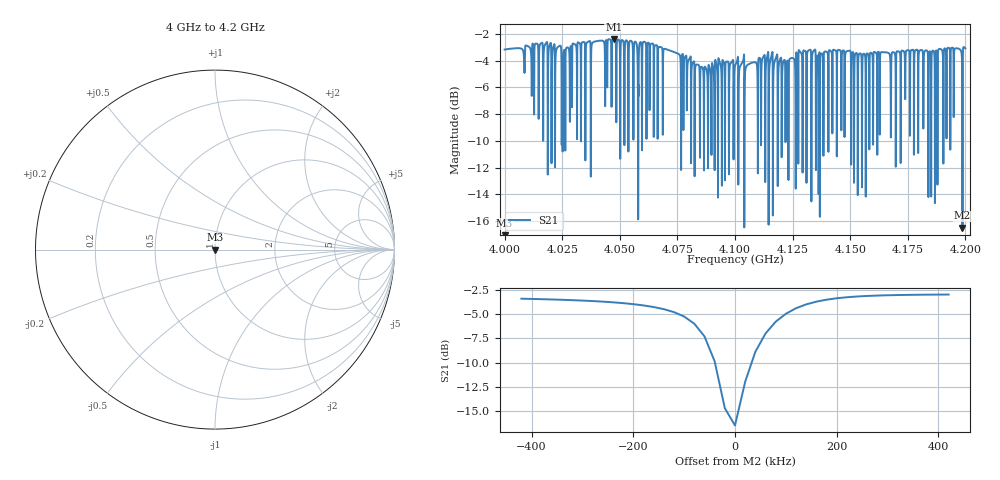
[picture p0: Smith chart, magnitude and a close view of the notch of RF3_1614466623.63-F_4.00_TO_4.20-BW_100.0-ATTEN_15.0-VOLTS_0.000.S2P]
!Keysight Technologies,E5063A,MY54502693,A.05.04
!Date: Sat Feb 27 15:57:22 2021
!Data & Calibration Information:
!Freq	S11:NONE(--)	S21:NONE(--)	S12:NONE(--)	S22:NONE(--)
# Hz S RI R 50
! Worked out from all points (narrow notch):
!   10000 points, 4 GHz to 4.2 GHz, reference 50 ohm
!   highest |S21| = -2.40 dB at 4.0473 GHz (marker M1); lowest = -16.5 dB at 4.1987 GHz (marker M2)
!   notch at M2: 13.1 dB deep, 73.1 kHz wide at half that depth
!   lowest |S11| = - dB at 4 GHz (marker M3), VSWR 1.00, Z = 50 + j0 ohm
!   |S11| at or under -10 dB: start of sweep to end of sweep
!   S12 and S22 are empty: the file has one direction only
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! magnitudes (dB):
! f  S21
! 4 GHz  -3.2
! 4.0212 GHz  -2.9
! 4.0236 GHz  -2.9
! 4.0256 GHz  -3.4
! 4.0265 GHz  -3.2
! 4.0333 GHz  -2.8
! 4.0473 GHz  -2.4
! 4.0548 GHz  -2.5
! 4.0587 GHz  -2.7
! 4.0594 GHz  -3.0
! 4.0667 GHz  -3.1
! 4.0889 GHz  -4.5
! 4.1 GHz  -4.4
! 4.1195 GHz  -4.0
! 4.1334 GHz  -4.1
! 4.136 GHz  -3.7
! 4.1395 GHz  -3.3
! 4.1493 GHz  -3.3
! 4.1525 GHz  -3.4
! 4.1667 GHz  -3.4
! 4.1987 GHz  -16.5
! 4.2 GHz  -3.1
